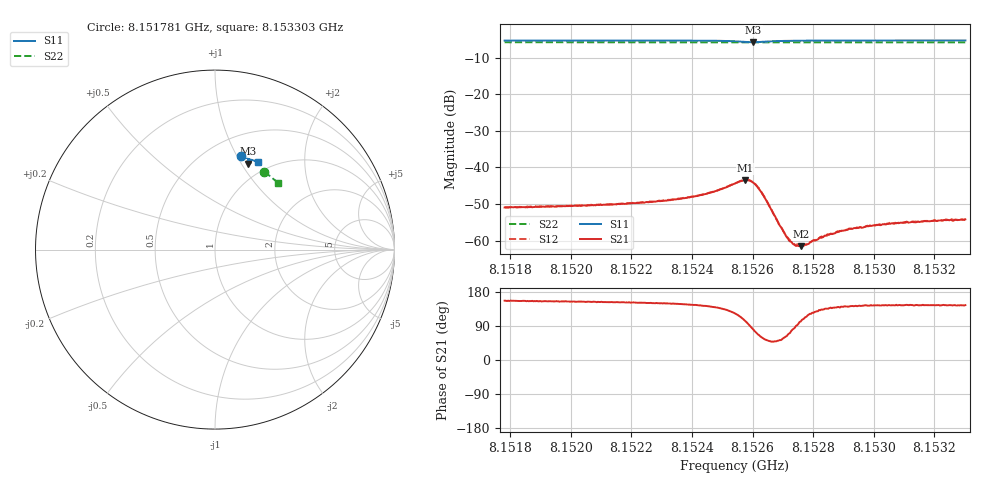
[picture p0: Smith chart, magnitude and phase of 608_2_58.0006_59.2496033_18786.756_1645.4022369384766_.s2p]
#  HZ  S  RI  R  50.00
! Rohde & Schwarz Vector Network Analyzer
! Rohde-Schwarz,ZNB20-2Port,1311601062101988,3.16
! Created: UTC 3/21/2024, 1:17:37 AM
! freq[Hz]  re:S11  im:S11  re:S21  im:S21  re:S12  im:S12  re:S22  im:S22
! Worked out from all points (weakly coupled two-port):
!   401 points, 8.151781 GHz to 8.153303 GHz, reference 50 ohm
!   highest |S21| = -43.46 dB at 8.152576 GHz (marker M1); lowest = -61.5 dB at 8.152759 GHz (marker M2)
!   lowest |S11| = -5.8 dB at 8.152603 GHz (marker M3), VSWR 3.10, Z = 41.2 + j53.5 ohm
!   |S11| at or under -10 dB: nowhere
!   |S22| runs from -5.9 to -5.8 dB; largest |S21 - S12| = 0.00014
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8.1517814e9  0.1427 0.521  -0.0026 0.00113  -0.00261 0.00119  0.2751 0.4319
8.1520362e9  0.1606 0.516  -0.0027 0.00132  -0.00272 0.00139  0.2887 0.4226
8.1522911e9  0.1795 0.5097  -0.003 0.00174  -0.00304 0.0018  0.3019 0.413
8.1524394e9  0.1921 0.5032  -0.00343 0.00259  -0.00344 0.00262  0.3093 0.407
8.1524851e9  0.1967 0.4991  -0.00362 0.00323  -0.00358 0.00332  0.3117 0.4052
8.1525421e9  0.2006 0.4888  -0.00328 0.00507  -0.00328 0.00516  0.3142 0.4024
8.1525764e9  0.1957 0.4794  -0.00149 0.00655  -0.00142 0.00661  0.3155 0.4008
8.1525916e9  0.1895 0.4773  -7.28e-06 0.00657  4.26e-05 0.00667  0.3161 0.4002
8.152603e9  0.1847 0.4784  0.00108 0.00607  0.00113 0.00613  0.3165 0.3999
8.1526182e9  0.1799 0.4828  0.00202 0.00488  0.0021 0.00495  0.3172 0.3995
8.1526334e9  0.1785 0.4884  0.0023 0.00364  0.00236 0.00362  0.3176 0.3992
8.1526943e9  0.1868 0.4998  0.000926 0.00121  0.000941 0.00122  0.3211 0.3973
8.1527171e9  0.1903 0.5009  0.000409 0.000991  0.000435 0.001  0.3222 0.3963
8.1527399e9  0.1933 0.5013  6.67e-05 0.000866  5.35e-05 0.000883  0.3235 0.3953
8.1527589e9  0.1957 0.5014  -0.000168 0.000825  -0.00016 0.00086  0.3245 0.3946
8.152778e9  0.1979 0.5011  -0.000364 0.000811  -0.000359 0.000807  0.3255 0.3937
8.152797e9  0.2 0.5009  -0.000564 0.000812  -0.000538 0.000833  0.3265 0.3927
8.152816e9  0.2018 0.5006  -0.000651 0.000816  -0.000663 0.000841  0.3273 0.3922
8.1528464e9  0.2046 0.4999  -0.000865 0.000854  -0.000823 0.000838  0.3288 0.3909
8.1528959e9  0.2087 0.4987  -0.00106 0.000869  -0.00105 0.000889  0.3314 0.3887
8.1530518e9  0.2204 0.4947  -0.0014 0.000986  -0.00142 0.00103  0.3387 0.3821
8.1533029e9  0.2376 0.4874  -0.00159 0.00113  -0.0016 0.00115  0.3502 0.3711
